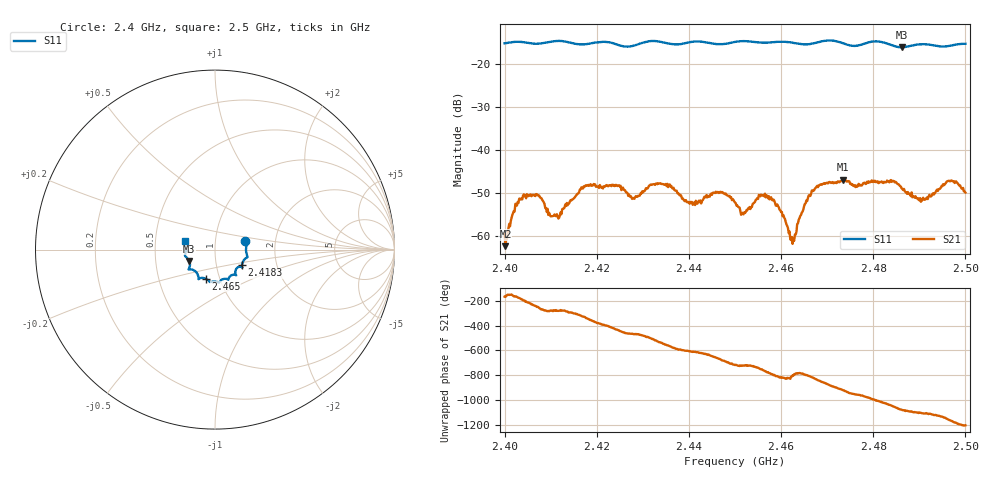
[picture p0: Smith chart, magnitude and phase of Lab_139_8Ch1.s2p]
# Hz S RI R 50
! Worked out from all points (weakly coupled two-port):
!   601 points, 2.4 GHz to 2.5 GHz, reference 50 ohm
!   highest |S21| = -46.90 dB at 2.4733 GHz (marker M1); lowest = -62.3 dB at 2.4002 GHz (marker M2)
!   lowest |S11| = -16.1 dB at 2.4862 GHz (marker M3), VSWR 1.37, Z = 37.2 - j4.86 ohm
!   |S11| at or under -10 dB: start of sweep to end of sweep
!   S12 and S22 are empty: the file has one direction only
!   S11 on the Smith chart (normalised r, x): 2.4 GHz: 1.40, +0.13; 2.4183 GHz: 1.33, -0.24; 2.465 GHz: 0.86, -0.29; 2.5 GHz: 0.71, +0.07
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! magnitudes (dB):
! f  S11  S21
! 2.4 GHz  -15.2  -59.3
! 2.4002 GHz  -15.1  -62.3
! 2.4037 GHz  -14.8  -51.3
! 2.4073 GHz  -15.2  -50.5
! 2.4115 GHz  -14.6  -55.3
! 2.4167 GHz  -15.4  -48.7
! 2.4183 GHz  -15.2  -48.3
! 2.428 GHz  -15.7  -51.1
! 2.4333 GHz  -14.7  -47.7
! 2.4403 GHz  -14.9  -52.0
! 2.45 GHz  -14.8  -52.2
! 2.4518 GHz  -14.6  -55.0
! 2.4578 GHz  -14.9  -51.0
! 2.4625 GHz  -15.0  -61.8
! 2.465 GHz  -15.4  -53.0
! 2.4667 GHz  -15.3  -49.4
! 2.4733 GHz  -15.1  -46.9
! 2.4833 GHz  -15.3  -47.3
! 2.4862 GHz  -16.1  -48.9
! 2.4902 GHz  -15.4  -51.2
! 2.4965 GHz  -15.8  -47.1
! 2.5 GHz  -15.3  -49.9
